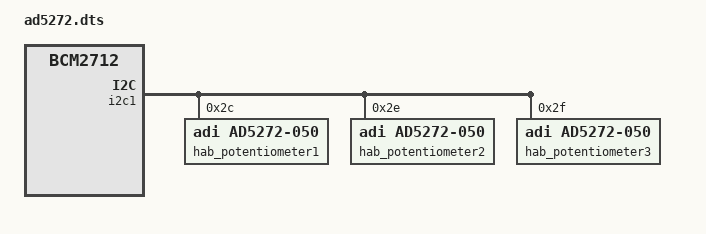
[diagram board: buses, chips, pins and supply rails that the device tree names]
/dts-v1/;
/plugin/;
/ {
	compatible = "brcm,bcm2712";
	fragment@0 {
		target = <&i2c1>;
		__overlay__ {
			#address-cells = <1>;
			#size-cells = <0>;

			hab_potentiometer1: ad5272@2c {
				compatible = "adi,ad5272-050";
				reg = <0x2c>;
				status = "okay";
			};

			hab_potentiometer2: ads1115@2e {
				compatible = "adi,ad5272-050";
				reg = <0x2e>;
				status = "okay";
			};

            hab_potentiometer3: ads1115@2f {
				compatible = "adi,ad5272-050";
				reg = <0x2f>;
				status = "okay";
			};
		};
	};
};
